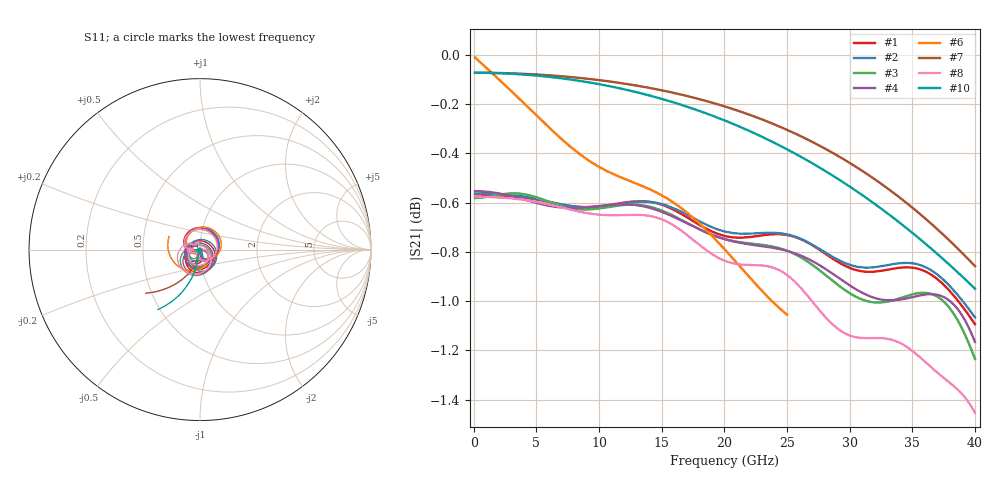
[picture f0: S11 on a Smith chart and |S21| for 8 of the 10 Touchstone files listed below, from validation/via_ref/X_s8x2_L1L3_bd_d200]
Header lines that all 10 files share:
# Hz S RI R 50
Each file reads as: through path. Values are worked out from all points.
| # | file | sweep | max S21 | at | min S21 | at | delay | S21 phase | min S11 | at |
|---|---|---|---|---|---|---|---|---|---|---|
| 1 | cst.s2p | 100 MHz to 40 GHz | -0.57 dB | 200 MHz | -1.1 dB | 40 GHz | 54.9 ps | -30 deg at 20.1 GHz | -40.6 dB | 34.4 GHz |
| 2 | cst_fine.s2p | 100 MHz to 40 GHz | -0.56 dB | 200 MHz | -1.1 dB | 40 GHz | 54.7 ps | -29 deg at 20.1 GHz | -43.8 dB | 34.5 GHz |
| 3 | kisi.s2p | 100 MHz to 40 GHz | -0.56 dB | 3.2 GHz | -1.2 dB | 40 GHz | 55 ps | -31 deg at 20.1 GHz | -46.9 dB | 15.2 GHz |
| 4 | kisi_base.s2p | 100 MHz to 40 GHz | -0.55 dB | 100 MHz | -1.2 dB | 40 GHz | 55 ps | -31 deg at 20.1 GHz | -40.4 dB | 15 GHz |
| 5 | kisi_deembedded.s2p | 100 MHz to 40 GHz | -0.02 dB | 3.6 GHz | -0.6 dB | 40 GHz | 2.71 ps | -18 deg at 20.1 GHz | -40.9 dB | 23.3 GHz |
| 6 | kisi_model.s2p | 100 MHz to 25 GHz | -0.01 dB | 100 MHz | -1.1 dB | 25 GHz | 50.6 ps | 132 deg at 12.6 GHz | -52.0 dB | 100 MHz |
| 7 | ladder.s2p | 100 MHz to 40 GHz | -0.07 dB | 100 MHz | -0.9 dB | 40 GHz | 2.17 ps | -15 deg at 20.1 GHz | -41.5 dB | 100 MHz |
| 8 | openems.s2p | 100 MHz to 40 GHz | -0.57 dB | 100 MHz | -1.5 dB | 40 GHz | 55.5 ps | -34 deg at 20.1 GHz | -53.9 dB | 15 GHz |
| 9 | openems_base.s2p | 100 MHz to 40 GHz | -0.57 dB | 100 MHz | -1.4 dB | 40 GHz | 55.3 ps | -33 deg at 20.1 GHz | -49.9 dB | 15.2 GHz |
| 10 | pbm.s2p | 100 MHz to 40 GHz | -0.07 dB | 100 MHz | -0.9 dB | 40 GHz | 1.43 ps | -10 deg at 20.1 GHz | -41.5 dB | 100 MHz |
